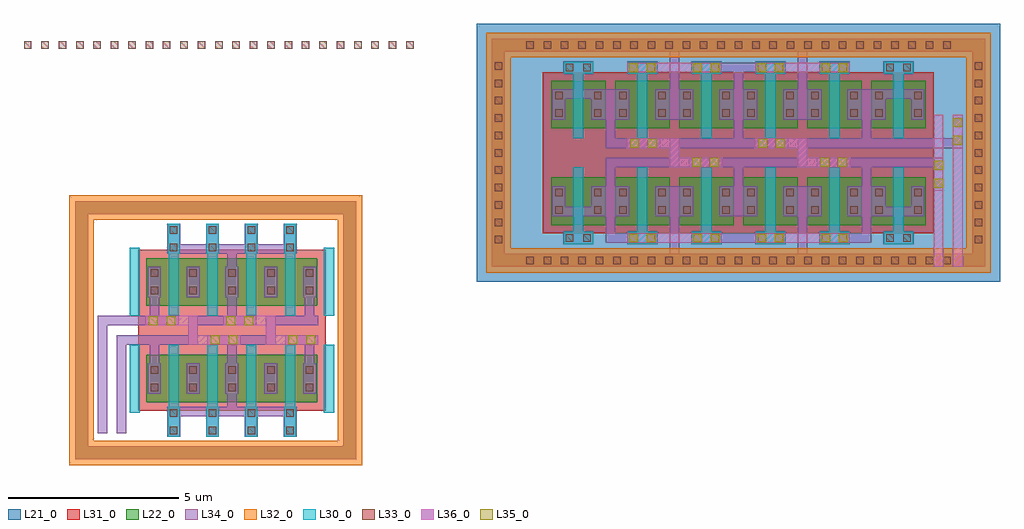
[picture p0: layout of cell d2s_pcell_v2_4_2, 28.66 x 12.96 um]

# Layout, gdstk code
from math import pi, radians
import gdstk
lib = gdstk.Library(unit=1e-6, precision=5e-09)
def R(c, l, rs):  # rectangles x0, y0, x1, y1
    for r in rs: c.add(gdstk.rectangle(r[:2], r[2:], *l))
def A(c, l, x, y, w, h, nx, ny, dx, dy):  # array of equal rectangles
    R(c, l, [(x+i*dx, y+j*dy, x+i*dx+w, y+j*dy+h) for i in range(nx) for j in range(ny)])
L21_0 = (21, 0)
L22_0 = (22, 0)
L30_0 = (30, 0)
L31_0 = (31, 0)
L32_0 = (32, 0)
L33_0 = (33, 0)
L34_0 = (34, 0)
L35_0 = (35, 0)
L36_0 = (36, 0)

d2s_pcell_1_1_1 = lib.new_cell('d2s_pcell_1$1$1')
R(d2s_pcell_1_1_1, L22_0, [(0,0.3,0.46,1.7), (0.46,0.3,1.14,1.7), (1.14,0.3,1.6,1.7)])
R(d2s_pcell_1_1_1, L30_0, [(0.65,0,0.95,2)])
R(d2s_pcell_1_1_1, L33_0, [(0.12,0.635,0.34,0.855), (1.26,0.635,1.48,0.855), (0.12,1.145,0.34,1.365), (1.26,1.145,1.48,1.365)])
R(d2s_pcell_1_1_1, L34_0, [(0.04,0.555,0.42,1.445), (1.18,0.555,1.56,1.445)])

d2s_pcell_4_1 = lib.new_cell('d2s_pcell_4$1')
A(d2s_pcell_4_1, L30_0, 0.365, 1.9, 0.87, 0.36, 6, 1, 1.88, 0)
R(d2s_pcell_4_1, L33_0, [(0.435,1.97,0.655,2.19), (0.945,1.97,1.165,2.19), (2.315,1.97,2.535,2.19), (2.825,1.97,3.045,2.19), (4.195,1.97,4.415,2.19), (4.705,1.97,4.925,2.19), (6.075,1.97,6.295,2.19), (6.585,1.97,6.805,2.19), (7.955,1.97,8.175,2.19), (8.465,1.97,8.685,2.19), (9.835,1.97,10.055,2.19), (10.345,1.97,10.565,2.19)])
A(d2s_pcell_4_1, L34_0, 1.56, 0.555, 0.36, 0.89, 5, 1, 1.88, 0)
A(d2s_pcell_4_1, L34_0, 0.355, 1.89, 0.89, 0.38, 6, 1, 1.88, 0)
R(d2s_pcell_4_1, L35_0, [(2.29,1.95,2.55,2.21), (2.81,1.95,3.07,2.21), (4.17,1.95,4.43,2.21), (4.69,1.95,4.95,2.21), (6.05,1.95,6.31,2.21), (6.57,1.95,6.83,2.21), (7.93,1.95,8.19,2.21), (8.45,1.95,8.71,2.21)])
d2s_pcell_4_1.add(gdstk.FlexPath([(10.2,1.89),(10.2,1.445)], 0.28, ends="flush", simple_path=True, layer=34, datatype=0))  # L34_0
d2s_pcell_4_1.add(gdstk.FlexPath([(9.82,1.305),(10.58,1.305)], 0.28, ends="flush", simple_path=True, layer=34, datatype=0))  # L34_0
d2s_pcell_4_1.add(gdstk.FlexPath([(0.8,1.89),(0.8,1.445)], 0.28, ends="flush", simple_path=True, layer=34, datatype=0))  # L34_0
d2s_pcell_4_1.add(gdstk.FlexPath([(1.18,1.305),(0.42,1.305)], 0.28, ends="flush", simple_path=True, layer=34, datatype=0))  # L34_0
d2s_pcell_4_1.add(gdstk.FlexPath([(5.01,2.08),(2.23,2.08)], 0.28, ends="flush", simple_path=True, layer=36, datatype=0))  # L36_0
d2s_pcell_4_1.add(gdstk.FlexPath([(8.77,2.08),(5.99,2.08)], 0.28, ends="flush", simple_path=True, layer=36, datatype=0))  # L36_0
d2s_pcell_4_1.add(gdstk.Reference(d2s_pcell_1_1_1, (1.88,0)))
d2s_pcell_4_1.add(gdstk.Reference(d2s_pcell_1_1_1, (3.76,0)))
d2s_pcell_4_1.add(gdstk.Reference(d2s_pcell_1_1_1, (5.64,0)))
d2s_pcell_4_1.add(gdstk.Reference(d2s_pcell_1_1_1, (7.52,0)))
d2s_pcell_4_1.add(gdstk.Reference(d2s_pcell_1_1_1, (9.4,0)))
d2s_pcell_4_1.add(gdstk.Reference(d2s_pcell_1_1_1, (1.6,0), rotation=pi, x_reflection=True))

m1_m2_cross_pair = lib.new_cell('M1_M2_cross_pair')
R(m1_m2_cross_pair, L35_0, [(1.92,0.01,2.18,0.27), (2.44,0.01,2.7,0.27), (0.1,0.57,0.36,0.83), (0.62,0.57,0.88,0.83)])
m1_m2_cross_pair.add(gdstk.FlexPath([(0,0.14),(1.4,0.14),(1.4,0.7),(2.8,0.7)], 0.28, ends="flush", simple_path=True, layer=34, datatype=0))  # L34_0
m1_m2_cross_pair.add(gdstk.FlexPath([(0,0.7),(0.98,0.7)], 0.28, ends="flush", simple_path=True, layer=34, datatype=0))  # L34_0
m1_m2_cross_pair.add(gdstk.FlexPath([(1.82,0.14),(2.8,0.14)], 0.28, ends="flush", simple_path=True, layer=34, datatype=0))  # L34_0
m1_m2_cross_pair.add(gdstk.FlexPath([(0,0.7),(1.4,0.7),(1.4,0.14),(2.8,0.14)], 0.28, ends="flush", simple_path=True, layer=36, datatype=0))  # L36_0

d2s_pcell_1_2 = lib.new_cell('d2s_pcell_1$2')
R(d2s_pcell_1_2, L22_0, [(0,0.3,0.46,1.7), (0.46,0.3,1.14,1.7), (1.14,0.3,1.6,1.7)])
R(d2s_pcell_1_2, L30_0, [(0.65,0,0.95,2)])
R(d2s_pcell_1_2, L33_0, [(0.12,0.635,0.34,0.855), (1.26,0.635,1.48,0.855), (0.12,1.145,0.34,1.365), (1.26,1.145,1.48,1.365)])
R(d2s_pcell_1_2, L34_0, [(0.04,0.555,0.42,1.445), (1.18,0.555,1.56,1.445)])

d2s_pcell_v2_4 = lib.new_cell('d2s_pcell_v2_4')
A(d2s_pcell_v2_4, L30_0, 1.11, 1.83, 0.36, 0.87, 4, 1, 1.14, 0)
R(d2s_pcell_v2_4, L30_0, [(0,0,0.3,2), (5.7,0,6,2)])
A(d2s_pcell_v2_4, L33_0, 1.18, 1.9, 0.22, 0.22, 4, 2, 1.14, 0.51)
A(d2s_pcell_v2_4, L34_0, 1.1, 1.82, 0.38, 0.89, 4, 1, 1.14, 0)
d2s_pcell_v2_4.add(gdstk.FlexPath([(3,1.445),(3,1.82)], 0.28, ends="flush", simple_path=True, layer=34, datatype=0))  # L34_0
d2s_pcell_v2_4.add(gdstk.FlexPath([(1.48,1.96),(4.52,1.96)], 0.28, ends="flush", simple_path=True, layer=34, datatype=0))  # L34_0
d2s_pcell_v2_4.add(gdstk.Reference(d2s_pcell_1_2, (1.63,0)))
d2s_pcell_v2_4.add(gdstk.Reference(d2s_pcell_1_2, (0.49,0)))
d2s_pcell_v2_4.add(gdstk.Reference(d2s_pcell_1_2, (3.91,0)))
d2s_pcell_v2_4.add(gdstk.Reference(d2s_pcell_1_2, (2.77,0)))

d2s_pcell_v2_4_2 = lib.new_cell('d2s_pcell_v2_4_2')
R(d2s_pcell_v2_4_2, L21_0, [(10.19,5.38,25.55,12.955)])
R(d2s_pcell_v2_4_2, L31_0, [(0.25,1.6,5.75,6.32), (12.13,6.81,23.61,11.53)])
A(d2s_pcell_v2_4_2, L33_0, 11.64, 5.9, 0.22, 0.22, 25, 2, 0.51, 6.32)
A(d2s_pcell_v2_4_2, L33_0, 10.71, 6.51, 0.22, 0.22, 1, 11, 0, 0.51)
A(d2s_pcell_v2_4_2, L33_0, 24.81, 6.51, 0.22, 0.22, 1, 11, 0, 0.51)
A(d2s_pcell_v2_4_2, L33_0, -3.105, 12.22, 0.22, 0.22, 23, 1, 0.51, 0)
R(d2s_pcell_v2_4_2, L35_0, [(23.62,8.15,23.88,8.41), (23.62,8.67,23.88,8.93), (16.51,8.76,16.77,9.02), (17.03,8.76,17.29,9.02), (20.27,8.76,20.53,9.02), (20.79,8.76,21.05,9.02), (14.69,9.32,14.95,9.58), (15.21,9.32,15.47,9.58), (18.45,9.32,18.71,9.58), (18.97,9.32,19.23,9.58), (24.18,9.41,24.44,9.67), (24.18,9.93,24.44,10.19)])
d2s_pcell_v2_4_2.add(gdstk.FlexPath([(-0.24,3.54),(-0.24,0.93)], 0.28, ends="flush", simple_path=True, layer=34, datatype=0))  # L34_0
d2s_pcell_v2_4_2.add(gdstk.FlexPath([(0.46,3.68),(-0.38,3.68)], 0.28, ends="flush", simple_path=True, layer=34, datatype=0))  # L34_0
d2s_pcell_v2_4_2.add(gdstk.FlexPath([(0.46,4.24),(-0.66,4.24)], 0.28, ends="flush", simple_path=True, layer=34, datatype=0))  # L34_0
d2s_pcell_v2_4_2.add(gdstk.FlexPath([(-0.8,4.38),(-0.8,0.93)], 0.28, ends="flush", simple_path=True, layer=34, datatype=0))  # L34_0
d2s_pcell_v2_4_2.add(gdstk.FlexPath([(3,4.935),(3,4.38)], 0.28, ends="flush", simple_path=True, layer=34, datatype=0))  # L34_0
d2s_pcell_v2_4_2.add(gdstk.FlexPath([(6.46,7.75),(6.46,0.36),(-1.41,0.36),(-1.41,7.56),(6.27,7.56)], 0.38, ends="flush", simple_path=True, layer=34, datatype=0))  # L34_0
d2s_pcell_v2_4_2.add(gdstk.FlexPath([(24.92,12.52),(24.92,6.01),(10.82,6.01),(10.82,12.33),(24.73,12.33)], 0.38, ends="flush", simple_path=True, layer=34, datatype=0))  # L34_0
d2s_pcell_v2_4_2.add(gdstk.FlexPath([(24.31,9.31),(24.31,10.29)], 0.28, ends="flush", simple_path=True, layer=34, datatype=0))  # L34_0
d2s_pcell_v2_4_2.add(gdstk.FlexPath([(3,3.54),(3,2.985)], 0.28, ends="flush", simple_path=True, layer=34, datatype=0))  # L34_0
d2s_pcell_v2_4_2.add(gdstk.FlexPath([(0.72,3.54),(0.72,2.985)], 0.28, ends="flush", simple_path=True, layer=34, datatype=0))  # L34_0
d2s_pcell_v2_4_2.add(gdstk.FlexPath([(0.72,4.935),(0.72,4.38)], 0.28, ends="flush", simple_path=True, layer=34, datatype=0))  # L34_0
d2s_pcell_v2_4_2.add(gdstk.FlexPath([(5.28,3.54),(5.28,2.985)], 0.28, ends="flush", simple_path=True, layer=34, datatype=0))  # L34_0
d2s_pcell_v2_4_2.add(gdstk.FlexPath([(5.28,4.935),(5.28,4.38)], 0.28, ends="flush", simple_path=True, layer=34, datatype=0))  # L34_0
d2s_pcell_v2_4_2.add(gdstk.FlexPath([(21.77,8.89),(23.89,8.89)], 0.28, ends="flush", simple_path=True, layer=34, datatype=0))  # L34_0
d2s_pcell_v2_4_2.add(gdstk.FlexPath([(23.75,8.05),(23.75,9.03)], 0.28, ends="flush", simple_path=True, layer=34, datatype=0))  # L34_0
d2s_pcell_v2_4_2.add(gdstk.FlexPath([(21.77,9.45),(24.36,9.45)], 0.28, ends="flush", simple_path=True, layer=34, datatype=0))  # L34_0
d2s_pcell_v2_4_2.add(gdstk.FlexPath([(21.63,10.145),(21.63,9.59)], 0.28, ends="flush", simple_path=True, layer=34, datatype=0))  # L34_0
d2s_pcell_v2_4_2.add(gdstk.FlexPath([(17.87,10.145),(17.87,9.59)], 0.28, ends="flush", simple_path=True, layer=34, datatype=0))  # L34_0
d2s_pcell_v2_4_2.add(gdstk.FlexPath([(14.11,10.145),(14.11,9.59)], 0.28, ends="flush", simple_path=True, layer=34, datatype=0))  # L34_0
d2s_pcell_v2_4_2.add(gdstk.FlexPath([(17.39,9.45),(15.99,9.45),(15.99,8.89),(14.59,8.89)], 0.28, ends="flush", simple_path=True, layer=34, datatype=0))  # L34_0
d2s_pcell_v2_4_2.add(gdstk.FlexPath([(15.57,9.45),(14.59,9.45)], 0.28, ends="flush", simple_path=True, layer=34, datatype=0))  # L34_0
d2s_pcell_v2_4_2.add(gdstk.FlexPath([(17.39,8.89),(16.41,8.89)], 0.28, ends="flush", simple_path=True, layer=34, datatype=0))  # L34_0
d2s_pcell_v2_4_2.add(gdstk.FlexPath([(17.39,9.45),(18.35,9.45)], 0.28, ends="flush", simple_path=True, layer=34, datatype=0))  # L34_0
d2s_pcell_v2_4_2.add(gdstk.FlexPath([(17.39,8.89),(18.35,8.89)], 0.28, ends="flush", simple_path=True, layer=34, datatype=0))  # L34_0
d2s_pcell_v2_4_2.add(gdstk.FlexPath([(14.59,9.45),(13.97,9.45)], 0.28, ends="flush", simple_path=True, layer=34, datatype=0))  # L34_0
d2s_pcell_v2_4_2.add(gdstk.FlexPath([(14.59,8.89),(13.97,8.89)], 0.28, ends="flush", simple_path=True, layer=34, datatype=0))  # L34_0
d2s_pcell_v2_4_2.add(gdstk.FlexPath([(17.87,10.145),(17.87,9.59)], 0.28, ends="flush", simple_path=True, layer=34, datatype=0))  # L34_0
d2s_pcell_v2_4_2.add(gdstk.FlexPath([(21.15,9.45),(19.75,9.45),(19.75,8.89),(18.35,8.89)], 0.28, ends="flush", simple_path=True, layer=34, datatype=0))  # L34_0
d2s_pcell_v2_4_2.add(gdstk.FlexPath([(17.87,11.035),(17.87,11.53)], 0.28, ends="flush", simple_path=True, layer=34, datatype=0))  # L34_0
d2s_pcell_v2_4_2.add(gdstk.FlexPath([(21.135,6.67),(21.63,6.67),(21.63,7.305)], 0.28, ends="flush", simple_path=True, layer=34, datatype=0))  # L34_0
d2s_pcell_v2_4_2.add(gdstk.FlexPath([(14.605,6.67),(14.11,6.67),(14.11,7.305)], 0.28, ends="flush", simple_path=True, layer=34, datatype=0))  # L34_0
d2s_pcell_v2_4_2.add(gdstk.FlexPath([(19.33,9.45),(18.35,9.45)], 0.28, ends="flush", simple_path=True, layer=34, datatype=0))  # L34_0
d2s_pcell_v2_4_2.add(gdstk.FlexPath([(21.15,8.89),(20.17,8.89)], 0.28, ends="flush", simple_path=True, layer=34, datatype=0))  # L34_0
d2s_pcell_v2_4_2.add(gdstk.FlexPath([(21.77,9.45),(21.15,9.45)], 0.28, ends="flush", simple_path=True, layer=34, datatype=0))  # L34_0
d2s_pcell_v2_4_2.add(gdstk.FlexPath([(21.77,8.89),(21.15,8.89)], 0.28, ends="flush", simple_path=True, layer=34, datatype=0))  # L34_0
d2s_pcell_v2_4_2.add(gdstk.FlexPath([(21.63,8.75),(21.63,8.195)], 0.28, ends="flush", simple_path=True, layer=34, datatype=0))  # L34_0
d2s_pcell_v2_4_2.add(gdstk.FlexPath([(17.87,8.75),(17.87,8.195)], 0.28, ends="flush", simple_path=True, layer=34, datatype=0))  # L34_0
d2s_pcell_v2_4_2.add(gdstk.FlexPath([(14.11,8.75),(14.11,8.195)], 0.28, ends="flush", simple_path=True, layer=34, datatype=0))  # L34_0
d2s_pcell_v2_4_2.add(gdstk.FlexPath([(17.87,8.75),(17.87,8.195)], 0.28, ends="flush", simple_path=True, layer=34, datatype=0))  # L34_0
d2s_pcell_v2_4_2.add(gdstk.FlexPath([(18.365,11.67),(17.375,11.67)], 0.28, ends="flush", simple_path=True, layer=34, datatype=0))  # L34_0
d2s_pcell_v2_4_2.add(gdstk.FlexPath([(18.365,6.67),(17.375,6.67)], 0.28, ends="flush", simple_path=True, layer=34, datatype=0))  # L34_0
d2s_pcell_v2_4_2.add(gdstk.FlexPath([(15.99,7.305),(15.99,6.2)], 0.28, ends="flush", simple_path=True, layer=34, datatype=0))  # L34_0
d2s_pcell_v2_4_2.add(gdstk.FlexPath([(19.75,7.305),(19.75,6.2)], 0.28, ends="flush", simple_path=True, layer=34, datatype=0))  # L34_0
d2s_pcell_v2_4_2.add(gdstk.FlexPath([(15.99,12.14),(15.99,11.035)], 0.28, ends="flush", simple_path=True, layer=34, datatype=0))  # L34_0
d2s_pcell_v2_4_2.add(gdstk.FlexPath([(19.75,12.14),(19.75,11.035)], 0.28, ends="flush", simple_path=True, layer=34, datatype=0))  # L34_0
d2s_pcell_v2_4_2.add(gdstk.FlexPath([(24.92,12.52),(24.92,6.01),(10.82,6.01),(10.82,12.33),(24.73,12.33)], 0.38, ends="flush", simple_path=True, layer=22, datatype=0))  # L22_0
d2s_pcell_v2_4_2.add(gdstk.FlexPath([(6.46,7.75),(6.46,0.36),(-1.41,0.36),(-1.41,7.56),(6.27,7.56)], 0.38, ends="flush", simple_path=True, layer=22, datatype=0))  # L22_0
d2s_pcell_v2_4_2.add(gdstk.FlexPath([(24.31,10.29),(24.31,5.82)], 0.28, ends="flush", simple_path=True, layer=36, datatype=0))  # L36_0
d2s_pcell_v2_4_2.add(gdstk.FlexPath([(23.75,10.29),(23.75,5.82)], 0.28, ends="flush", simple_path=True, layer=36, datatype=0))  # L36_0
d2s_pcell_v2_4_2.add(gdstk.FlexPath([(21.15,8.89),(19.75,8.89),(19.75,9.45),(18.35,9.45)], 0.28, ends="flush", simple_path=True, layer=36, datatype=0))  # L36_0
d2s_pcell_v2_4_2.add(gdstk.FlexPath([(17.39,8.89),(15.99,8.89),(15.99,9.45),(14.59,9.45)], 0.28, ends="flush", simple_path=True, layer=36, datatype=0))  # L36_0
d2s_pcell_v2_4_2.add(gdstk.FlexPath([(6.46,7.92),(6.46,0.36),(-1.41,0.36),(-1.41,7.56),(6.82,7.56)], 0.72, ends="flush", simple_path=True, layer=32, datatype=0))  # L32_0
d2s_pcell_v2_4_2.add(gdstk.FlexPath([(24.92,12.52),(24.92,6.01),(10.82,6.01),(10.82,12.33),(25.28,12.33)], 0.72, ends="flush", simple_path=True, layer=32, datatype=0))  # L32_0
d2s_pcell_v2_4_2.add(gdstk.Reference(d2s_pcell_4_1, (12.37,9.59)))
d2s_pcell_v2_4_2.add(gdstk.Reference(d2s_pcell_4_1, (12.37,8.75), x_reflection=True))
d2s_pcell_v2_4_2.add(gdstk.Reference(m1_m2_cross_pair, (2.74,3.54)))
d2s_pcell_v2_4_2.add(gdstk.Reference(d2s_pcell_v2_4, (6,4.38), rotation=pi, x_reflection=True))
d2s_pcell_v2_4_2.add(gdstk.Reference(m1_m2_cross_pair, (0.46,3.54)))
d2s_pcell_v2_4_2.add(gdstk.Reference(d2s_pcell_v2_4, (6,3.54), rotation=pi))

lib.write_gds('d2s_pcell_v2_4_2.gds')
